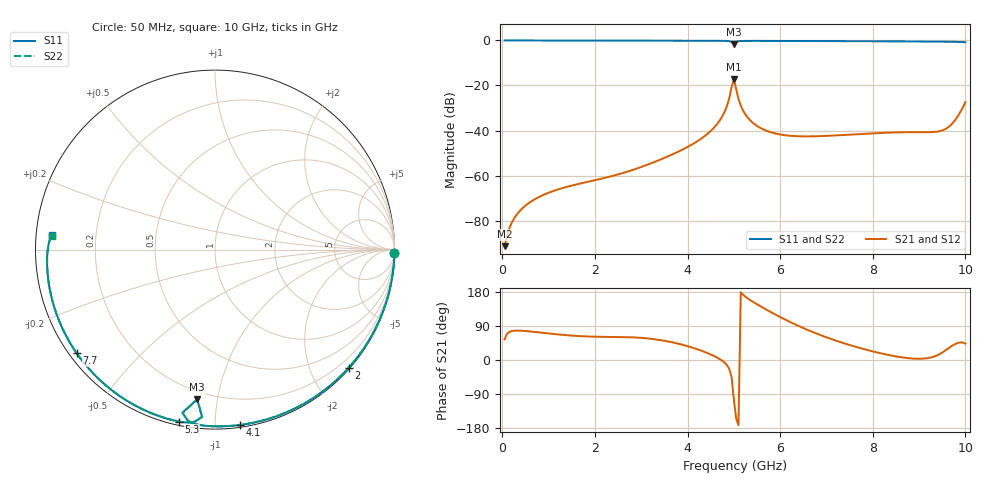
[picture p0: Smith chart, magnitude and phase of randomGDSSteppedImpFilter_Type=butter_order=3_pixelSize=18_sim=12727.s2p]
! freq	dB(S11)	phase(S11)	dB(S12)	phase(S12)
!  dB(S21)	phase(S21)	dB(S22)	phase(S22)
!S-par simulation data
#  GHz  S  DB  R 50
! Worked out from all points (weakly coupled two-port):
!   200 points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, 50 MHz to 10 GHz, reference 50 ohm
!   highest |S21| = -17.09 dB at 5 GHz (marker M1); lowest = -91.4 dB at 50 MHz (marker M2)
!   lowest |S11| = -1.5 dB at 5 GHz (marker M3), VSWR 11.46, Z = 7.76 - j43.8 ohm
!   |S11| at or under -10 dB: nowhere
!   |S22| runs from -1.5 to 0.0 dB; largest |S21 - S12| = 0
!   S11 on the Smith chart (normalised r, x): 50 MHz: open; 2 GHz: 0.02, -2.64; 4.1 GHz: 0.02, -1.15; 5.3 GHz: 0.02, -0.81; 7.7 GHz: 0.02, -0.33; 10 GHz: 0.05, +0.04
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0.05  -0.00 -1.1  -91.37 54.6  -91.37 54.6  -0.00 -1.1
0.2  -0.00 -4.2  -81.11 76.2  -81.11 76.2  -0.00 -4.2
0.5  -0.01 -10.5  -73.36 76.5  -73.36 76.5  -0.01 -10.5
0.85  -0.02 -17.9  -68.94 72.0  -68.94 72.0  -0.02 -17.9
1.75  -0.05 -36.4  -63.23 62.6  -63.23 62.6  -0.05 -36.4
2  -0.05 -41.5  -62.07 61.5  -62.07 61.5  -0.05 -41.4
3.4  -0.09 -68.8  -53.04 52.8  -53.04 52.8  -0.09 -68.8
4.1  -0.11 -82.0  -46.16 32.8  -46.16 32.8  -0.11 -81.9
4.7  -0.15 -93.5  -35.39 2.0  -35.39 2.0  -0.15 -93.4
4.85  -0.21 -97.2  -29.16 -13.3  -29.16 -13.3  -0.21 -97.1
4.95  -0.66 -101.3  -20.90 -44.4  -20.90 -44.4  -0.65 -101.2
5  -1.52 -96.8  -17.09 -103.7  -17.09 -103.7  -1.50 -96.7
5.05  -0.59 -94.4  -21.69 -154.4  -21.69 -154.4  -0.58 -94.4
5.15  -0.24 -98.3  -28.99 178.5  -28.99 178.5  -0.23 -98.2
5.3  -0.19 -101.8  -34.27 162.5  -34.27 162.5  -0.19 -101.8
5.8  -0.19 -111.1  -40.78 126.3  -40.78 126.3  -0.19 -111.0
6.7  -0.25 -126.4  -42.59 74.0  -42.59 74.0  -0.25 -126.3
7.7  -0.33 -143.1  -41.60 32.4  -41.60 32.4  -0.33 -143.0
8.35  -0.39 -154.0  -40.94 13.0  -40.94 13.0  -0.39 -153.9
9.5  -0.54 -174.3  -39.96 19.5  -39.96 19.5  -0.54 -174.1
9.75  -0.60 -179.2  -36.10 40.2  -36.10 40.2  -0.60 -179.1
10  -0.79 174.9  -27.40 43.2  -27.40 43.2  -0.79 175.1
